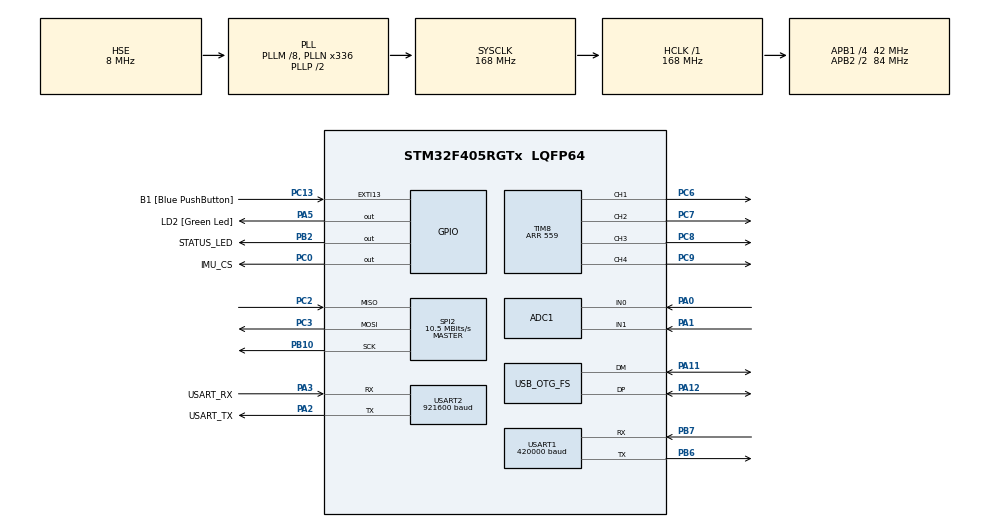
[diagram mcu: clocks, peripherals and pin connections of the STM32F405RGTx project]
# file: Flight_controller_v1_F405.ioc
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ADC1.Channel-10\#ChannelRegularConversion=ADC_CHANNEL_0
ADC1.Channel-12\#ChannelRegularConversion=ADC_CHANNEL_1
ADC1.ContinuousConvMode=ENABLE
ADC1.DMAContinuousRequests=ENABLE
ADC1.NbrOfConversion=2
ADC1.NbrOfConversionFlag=1
ADC1.Rank-10\#ChannelRegularConversion=1
ADC1.Rank-12\#ChannelRegularConversion=2
ADC1.SamplingTime-10\#ChannelRegularConversion=ADC_SAMPLETIME_480CYCLES
ADC1.SamplingTime-12\#ChannelRegularConversion=ADC_SAMPLETIME_480CYCLES
ADC1.master=1
Dma.ADC1.2.Direction=DMA_PERIPH_TO_MEMORY
Dma.ADC1.2.FIFOMode=DMA_FIFOMODE_DISABLE
Dma.ADC1.2.Instance=DMA2_Stream0
Dma.ADC1.2.MemDataAlignment=DMA_MDATAALIGN_HALFWORD
Dma.ADC1.2.MemInc=DMA_MINC_ENABLE
Dma.ADC1.2.Mode=DMA_CIRCULAR
Dma.ADC1.2.PeriphDataAlignment=DMA_PDATAALIGN_HALFWORD
Dma.ADC1.2.PeriphInc=DMA_PINC_DISABLE
Dma.ADC1.2.Priority=DMA_PRIORITY_LOW
Dma.Request0=USART1_RX
Dma.Request1=SPI2_RX
Dma.Request2=ADC1
Dma.Request3=USART2_RX
Dma.Request4=USART1_TX
Dma.Request5=SPI2_TX
Dma.Request6=USART2_TX
Dma.Request7=TIM8_UP
Dma.SPI2_RX.1.Direction=DMA_PERIPH_TO_MEMORY
Dma.SPI2_RX.1.FIFOMode=DMA_FIFOMODE_DISABLE
Dma.SPI2_RX.1.Instance=DMA1_Stream3
Dma.SPI2_RX.1.MemDataAlignment=DMA_MDATAALIGN_BYTE
Dma.SPI2_RX.1.MemInc=DMA_MINC_ENABLE
Dma.SPI2_RX.1.Mode=DMA_NORMAL
Dma.SPI2_RX.1.PeriphDataAlignment=DMA_PDATAALIGN_BYTE
Dma.SPI2_RX.1.PeriphInc=DMA_PINC_DISABLE
Dma.SPI2_RX.1.Priority=DMA_PRIORITY_LOW
Dma.SPI2_TX.5.Direction=DMA_MEMORY_TO_PERIPH
Dma.SPI2_TX.5.FIFOMode=DMA_FIFOMODE_DISABLE
Dma.SPI2_TX.5.Instance=DMA1_Stream4
Dma.SPI2_TX.5.MemDataAlignment=DMA_MDATAALIGN_BYTE
Dma.SPI2_TX.5.MemInc=DMA_MINC_ENABLE
Dma.SPI2_TX.5.Mode=DMA_NORMAL
Dma.SPI2_TX.5.PeriphDataAlignment=DMA_PDATAALIGN_BYTE
Dma.SPI2_TX.5.PeriphInc=DMA_PINC_DISABLE
Dma.SPI2_TX.5.Priority=DMA_PRIORITY_LOW
Dma.TIM8_UP.7.Direction=DMA_MEMORY_TO_PERIPH
Dma.TIM8_UP.7.FIFOMode=DMA_FIFOMODE_DISABLE
Dma.TIM8_UP.7.Instance=DMA2_Stream1
Dma.TIM8_UP.7.MemDataAlignment=DMA_MDATAALIGN_WORD
Dma.TIM8_UP.7.MemInc=DMA_MINC_ENABLE
Dma.TIM8_UP.7.Mode=DMA_NORMAL
Dma.TIM8_UP.7.PeriphDataAlignment=DMA_PDATAALIGN_WORD
Dma.TIM8_UP.7.PeriphInc=DMA_PINC_DISABLE
Dma.TIM8_UP.7.Priority=DMA_PRIORITY_LOW
Dma.USART1_RX.0.Direction=DMA_PERIPH_TO_MEMORY
Dma.USART1_RX.0.FIFOMode=DMA_FIFOMODE_DISABLE
Dma.USART1_RX.0.Instance=DMA2_Stream2
Dma.USART1_RX.0.MemDataAlignment=DMA_MDATAALIGN_BYTE
Dma.USART1_RX.0.MemInc=DMA_MINC_ENABLE
Dma.USART1_RX.0.Mode=DMA_CIRCULAR
Dma.USART1_RX.0.PeriphDataAlignment=DMA_PDATAALIGN_BYTE
Dma.USART1_RX.0.PeriphInc=DMA_PINC_DISABLE
Dma.USART1_RX.0.Priority=DMA_PRIORITY_LOW
Dma.USART1_TX.4.Direction=DMA_MEMORY_TO_PERIPH
Dma.USART1_TX.4.FIFOMode=DMA_FIFOMODE_DISABLE
Dma.USART1_TX.4.Instance=DMA2_Stream7
Dma.USART1_TX.4.MemDataAlignment=DMA_MDATAALIGN_BYTE
Dma.USART1_TX.4.MemInc=DMA_MINC_ENABLE
Dma.USART1_TX.4.Mode=DMA_NORMAL
Dma.USART1_TX.4.PeriphDataAlignment=DMA_PDATAALIGN_BYTE
Dma.USART1_TX.4.PeriphInc=DMA_PINC_DISABLE
Dma.USART1_TX.4.Priority=DMA_PRIORITY_LOW
Dma.USART2_RX.3.Direction=DMA_PERIPH_TO_MEMORY
Dma.USART2_RX.3.FIFOMode=DMA_FIFOMODE_DISABLE
Dma.USART2_RX.3.Instance=DMA1_Stream5
Dma.USART2_RX.3.MemDataAlignment=DMA_MDATAALIGN_BYTE
Dma.USART2_RX.3.MemInc=DMA_MINC_ENABLE
Dma.USART2_RX.3.Mode=DMA_CIRCULAR
Dma.USART2_RX.3.PeriphDataAlignment=DMA_PDATAALIGN_BYTE
Dma.USART2_RX.3.PeriphInc=DMA_PINC_DISABLE
Dma.USART2_RX.3.Priority=DMA_PRIORITY_LOW
Dma.USART2_TX.6.Direction=DMA_MEMORY_TO_PERIPH
Dma.USART2_TX.6.FIFOMode=DMA_FIFOMODE_DISABLE
Dma.USART2_TX.6.Instance=DMA1_Stream6
Dma.USART2_TX.6.MemDataAlignment=DMA_MDATAALIGN_BYTE
Dma.USART2_TX.6.MemInc=DMA_MINC_ENABLE
Dma.USART2_TX.6.Mode=DMA_NORMAL
Dma.USART2_TX.6.PeriphDataAlignment=DMA_PDATAALIGN_BYTE
Dma.USART2_TX.6.PeriphInc=DMA_PINC_DISABLE
Dma.USART2_TX.6.Priority=DMA_PRIORITY_LOW
Mcu.Family=STM32F4
Mcu.Name=STM32F405RGTx
Mcu.Package=LQFP64
NVIC.DMA1_Stream3_IRQn=true\:0\:0\:false\:false\:true\:false\:true\:true
NVIC.DMA1_Stream4_IRQn=true\:0\:0\:false\:false\:true\:false\:true\:true
NVIC.DMA1_Stream5_IRQn=true\:0\:0\:false\:false\:true\:false\:true\:true
NVIC.DMA1_Stream6_IRQn=true\:0\:0\:false\:false\:true\:false\:true\:true
NVIC.DMA2_Stream0_IRQn=true\:0\:0\:false\:false\:true\:false\:true\:true
NVIC.DMA2_Stream1_IRQn=true\:0\:0\:false\:false\:true\:false\:true\:true
NVIC.DMA2_Stream2_IRQn=true\:0\:0\:false\:false\:true\:false\:true\:true
NVIC.DMA2_Stream7_IRQn=true\:0\:0\:false\:false\:true\:false\:true\:true
NVIC.EXTI15_10_IRQn=true\:0\:0\:false\:false\:true\:true\:true\:true
NVIC.OTG_FS_IRQn=true\:0\:0\:false\:false\:true\:false\:true\:true
NVIC.PriorityGroup=NVIC_PRIORITYGROUP_0
NVIC.SPI2_IRQn=true\:0\:0\:false\:false\:true\:true\:true\:true
NVIC.USART1_IRQn=true\:0\:0\:false\:false\:true\:false\:true\:true
NVIC.USART2_IRQn=true\:0\:0\:false\:false\:true\:true\:true\:true
PA0-WKUP.Signal=ADCx_IN0
PA1.Signal=ADCx_IN1
PA11.Mode=Device_Only
PA11.Signal=USB_OTG_FS_DM
PA12.Mode=Device_Only
PA12.Signal=USB_OTG_FS_DP
PA13.GPIO_Label=TMS
PA13.Mode=Serial_Wire
PA13.Signal=SYS_JTMS-SWDIO
PA14.GPIO_Label=TCK
PA14.Mode=Serial_Wire
PA14.Signal=SYS_JTCK-SWCLK
PA2.GPIO_Label=USART_TX
PA2.Mode=Asynchronous
PA2.Signal=USART2_TX
PA3.GPIO_Label=USART_RX
PA3.Mode=Asynchronous
PA3.Signal=USART2_RX
PA5.GPIO_Label=LD2 [Green Led]
PA5.Signal=GPIO_Output
PB10.Mode=Full_Duplex_Master
PB10.Signal=SPI2_SCK
PB2.GPIO_Label=STATUS_LED
PB2.Signal=GPIO_Output
PB3.GPIO_Label=SWO
PB3.Signal=SYS_JTDO-SWO
PB6.Mode=Asynchronous
PB6.Signal=USART1_TX
PB7.Mode=Asynchronous
PB7.Signal=USART1_RX
PC0.GPIO_Label=IMU_CS
PC0.PinState=GPIO_PIN_SET
PC0.Signal=GPIO_Output
PC13-ANTI_TAMP.GPIO_Label=B1 [Blue PushButton]
PC13-ANTI_TAMP.GPIO_ModeDefaultEXTI=GPIO_MODE_IT_FALLING
PC13-ANTI_TAMP.Signal=GPXTI13
PC14-OSC32_IN.Signal=RCC_OSC32_IN
PC15-OSC32_OUT.Signal=RCC_OSC32_OUT
PC2.Mode=Full_Duplex_Master
PC2.Signal=SPI2_MISO
PC3.Mode=Full_Duplex_Master
PC3.Signal=SPI2_MOSI
PC6.Signal=S_TIM8_CH1
PC7.Signal=S_TIM8_CH2
PC8.Signal=S_TIM8_CH3
PC9.Signal=S_TIM8_CH4
PH0-OSC_IN.Mode=HSE-External-Oscillator
PH0-OSC_IN.Signal=RCC_OSC_IN
PH1-OSC_OUT.Mode=HSE-External-Oscillator
PH1-OSC_OUT.Signal=RCC_OSC_OUT
ProjectManager.HeapSize=0x200
ProjectManager.StackSize=0x400
ProjectManager.TargetToolchain=CMake
RCC.48MHZClocksFreq_Value=48000000
RCC.AHBFreq_Value=168000000
RCC.APB1CLKDivider=RCC_HCLK_DIV4
RCC.APB1Freq_Value=42000000
RCC.APB1TimFreq_Value=84000000
RCC.APB2CLKDivider=RCC_HCLK_DIV2
RCC.APB2Freq_Value=84000000
RCC.APB2TimFreq_Value=168000000
RCC.CortexFreq_Value=168000000
RCC.FLatency-AdvancedSettings=FLASH_LATENCY_5
RCC.HCLKFreq_Value=168000000
RCC.HSE_VALUE=8000000
RCC.HSI_VALUE=16000000
RCC.LSE_VALUE=32768
RCC.PLLM=8
RCC.PLLN=336
RCC.PLLQ=7
RCC.SYSCLKFreq_VALUE=168000000
RCC.SYSCLKSource=RCC_SYSCLKSOURCE_PLLCLK
RCC.VCOOutputFreq_Value=336000000
SH.ADCx_IN0.0=ADC1_IN0,IN0
SH.ADCx_IN1.0=ADC1_IN1,IN1
SH.S_TIM8_CH1.0=TIM8_CH1,PWM Generation1 CH1
SH.S_TIM8_CH2.0=TIM8_CH2,PWM Generation2 CH2
SH.S_TIM8_CH3.0=TIM8_CH3,PWM Generation3 CH3
SH.S_TIM8_CH4.0=TIM8_CH4,PWM Generation4 CH4
SPI2.BaudRatePrescaler=SPI_BAUDRATEPRESCALER_4
SPI2.CLKPhase=SPI_PHASE_2EDGE
SPI2.CLKPolarity=SPI_POLARITY_HIGH
SPI2.CalculateBaudRate=10.5 MBits/s
SPI2.Direction=SPI_DIRECTION_2LINES
SPI2.Mode=SPI_MODE_MASTER
SPI2.VirtualType=VM_MASTER
TIM8.Channel-PWM\ Generation1\ CH1=TIM_CHANNEL_1
TIM8.Channel-PWM\ Generation2\ CH2=TIM_CHANNEL_2
TIM8.Channel-PWM\ Generation3\ CH3=TIM_CHANNEL_3
TIM8.Channel-PWM\ Generation4\ CH4=TIM_CHANNEL_4
TIM8.Period=559
USART1.BaudRate=420000
USART1.VirtualMode=VM_ASYNC
USART2.BaudRate=921600
USART2.VirtualMode=VM_ASYNC
USB_DEVICE.CLASS_NAME_FS=CDC
USB_DEVICE.VirtualMode-CDC_FS=Cdc
USB_DEVICE.VirtualModeFS=Cdc_FS
USB_OTG_FS.VirtualMode=Device_Only
VP_TIM8_VS_ClockSourceINT.Mode=Internal
VP_USB_DEVICE_VS_USB_DEVICE_CDC_FS.Mode=CDC_FS
board=custom

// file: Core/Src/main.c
/* USER CODE BEGIN Header */
/**
  ******************************************************************************
  * @file           : main.c
  * @brief          : Main program body
  ******************************************************************************
  * @attention
  *
  * Copyright (c) 2026 STMicroelectronics.
  * All rights reserved.
  *
  * This software is licensed under terms that can be found in the LICENSE file
  * in the root directory of this software component.
  * If no LICENSE file comes with this software, it is provided AS-IS.
  *
  ******************************************************************************
  */
/* USER CODE END Header */
#include "main.h"
#include "usb_device.h"

/* USER CODE BEGIN Includes */
#include <stdio.h>

#include "usbd_cdc_if.h"
#include "FlightController/flightcontroller_entry.h"
/* USER CODE END Includes */

ADC_HandleTypeDef hadc1;
DMA_HandleTypeDef hdma_adc1;

SPI_HandleTypeDef hspi2;
DMA_HandleTypeDef hdma_spi2_rx;
DMA_HandleTypeDef hdma_spi2_tx;

TIM_HandleTypeDef htim8;
DMA_HandleTypeDef hdma_tim8_up;

UART_HandleTypeDef huart1;
UART_HandleTypeDef huart2;
DMA_HandleTypeDef hdma_usart1_rx;
DMA_HandleTypeDef hdma_usart1_tx;
DMA_HandleTypeDef hdma_usart2_rx;
DMA_HandleTypeDef hdma_usart2_tx;

/* USER CODE BEGIN PV */
uint8_t m_uartVirtualRxDmaBuffer[256];
uint16_t m_lastVirtualRxDmaPos = 0;
/* USER CODE END PV */

void SystemClock_Config(void);
static void MX_GPIO_Init(void);
static void MX_DMA_Init(void);
static void MX_ADC1_Init(void);
static void MX_SPI2_Init(void);
static void MX_USART1_UART_Init(void);
static void MX_USART2_UART_Init(void);
static void MX_TIM8_Init(void);
/* USER CODE BEGIN PFP */
void ProcessVirtualUartRxDma(void);
/* USER CODE END PFP */

/* USER CODE BEGIN 0 */
void HAL_UARTEx_RxEventCallback(UART_HandleTypeDef* huart, uint16_t size)
{
    if (huart->Instance == USART1)
    {
        HAL_UARTEx_ReceiveToIdle_DMA(&huart1, m_uartVirtualRxDmaBuffer, sizeof(m_uartVirtualRxDmaBuffer));
    }
}

void HAL_SPI_RxCpltCallback(SPI_HandleTypeDef *hspi)
{
    if (hspi2.Instance == SPI2)
    {

    }
}

void ProcessVirtualUartRxDma()
{
    const uint16_t currentPos =
        sizeof(m_uartVirtualRxDmaBuffer) - __HAL_DMA_GET_COUNTER(huart1.hdmarx);

    if (currentPos == m_lastVirtualRxDmaPos)
    {
        return;
    }

    if (currentPos > m_lastVirtualRxDmaPos)
    {
        for (uint16_t i = m_lastVirtualRxDmaPos; i < currentPos; ++i)
        {
            flight_controller_MavlinkParseByte(m_uartVirtualRxDmaBuffer[i]);
        }
    }
    else
    {
        for (uint16_t i = m_lastVirtualRxDmaPos; i < sizeof(m_uartVirtualRxDmaBuffer); ++i)
        {
            flight_controller_MavlinkParseByte(m_uartVirtualRxDmaBuffer[i]);
        }

        for (uint16_t i = 0; i < currentPos; ++i)
        {
            flight_controller_MavlinkParseByte(m_uartVirtualRxDmaBuffer[i]);
        }
    }

    m_lastVirtualRxDmaPos = currentPos;
}

typedef enum
{
    NOT_ACTIVE = 0,
    READY_TO_START = 1,
    LOW_MOTOR = 2,
    HALF_MOTOR = 3,
    HIGH_MOTOR = 4
} TEST_PWM_SEQUENCE_TEST_STATE;

TEST_PWM_SEQUENCE_TEST_STATE g_currentTestState = NOT_ACTIVE;
uint32_t g_sequenceLastTime = 0;
void ProcessPwmSequence_Test()
{
    switch (g_currentTestState)
    {
        case NOT_ACTIVE:
        {
            HAL_GPIO_WritePin(LD2_GPIO_Port, LD2_Pin, GPIO_PIN_RESET);
            break;
        }

        case READY_TO_START:
        {
            HAL_GPIO_WritePin(LD2_GPIO_Port, LD2_Pin, GPIO_PIN_SET);

            g_sequenceLastTime = HAL_GetTick();
            g_currentTestState = LOW_MOTOR;
            break;
        }

        case LOW_MOTOR:
        {
            __HAL_TIM_SET_COMPARE(&htim8, TIM_CHANNEL_1, 1000);

            const uint32_t currentTick = HAL_GetTick();
            if (currentTick - g_sequenceLastTime >= 1000)
            {
                g_sequenceLastTime = HAL_GetTick();
                g_currentTestState = HALF_MOTOR;
            }
            break;
        }

        case HALF_MOTOR:
        {
            __HAL_TIM_SET_COMPARE(&htim8, TIM_CHANNEL_1, 1500);
            const uint32_t currentTick = HAL_GetTick();
            if (currentTick - g_sequenceLastTime >= 1000)
            {
                g_sequenceLastTime = HAL_GetTick();
                g_currentTestState = HIGH_MOTOR;
            }
            break;
        }

        case HIGH_MOTOR:
        {
            __HAL_TIM_SET_COMPARE(&htim8, TIM_CHANNEL_1, 2000);
            const uint32_t currentTick = HAL_GetTick();
            if (currentTick - g_sequenceLastTime >= 1000)
            {
                g_sequenceLastTime = HAL_GetTick();
                g_currentTestState = NOT_ACTIVE;
            }
            break;
        }

        default:
            break;
    }
}

void HAL_GPIO_EXTI_Callback(uint16_t GPIO_Pin)
{
    if (GPIO_Pin == B1_Pin)
    {
        if (g_currentTestState == NOT_ACTIVE)
        {
            g_currentTestState = READY_TO_START;
        }
    }
}
/* USER CODE END 0 */

int main(void)
{

  /* MCU Configuration--------------------------------------------------------*/

  /* Reset of all peripherals, Initializes the Flash interface and the Systick. */
  HAL_Init();

  /* Configure the system clock */
  SystemClock_Config();

  /* Initialize all configured peripherals */
  MX_GPIO_Init();
  MX_DMA_Init();
  MX_ADC1_Init();
  MX_SPI2_Init();
  MX_USART1_UART_Init();
  MX_USART2_UART_Init();
  MX_USB_DEVICE_Init();
  MX_TIM8_Init();
  /* USER CODE BEGIN 2 */

    // const char msg[] = "hello from f405\r\n";
    //
    // while (1)
    // {
    //     HAL_UART_Transmit(&huart1, (uint8_t*)msg, sizeof(msg) - 1, 100);
    //     HAL_Delay(500);
    // }

  HAL_GPIO_WritePin(STATUS_LED_GPIO_Port, STATUS_LED_Pin, GPIO_PIN_RESET);

  flight_controller_Create(&huart1, &huart2, &hspi2, &htim8, &hadc1);
  flight_controller_Init();

  // HAL_UARTEx_ReceiveToIdle_DMA(&huart1, m_uartRCRxDmaBuffer, sizeof(m_uartRCRxDmaBuffer));
  HAL_UARTEx_ReceiveToIdle_DMA(&huart1, m_uartVirtualRxDmaBuffer, sizeof(m_uartVirtualRxDmaBuffer));

  /* USER CODE END 2 */

  /* Infinite loop */
  /* USER CODE BEGIN WHILE */
  while (1)
  {
      // HAL_GPIO_TogglePin(STATUS_LED_GPIO_Port, STATUS_LED_Pin);
      // HAL_Delay(500);
    // ProcessPwmSequence_Test();

    ProcessVirtualUartRxDma();

    flight_controller_Update();
    /* USER CODE END WHILE */

  }
}

void SystemClock_Config(void)
{
  RCC_OscInitTypeDef RCC_OscInitStruct = {0};
  RCC_ClkInitTypeDef RCC_ClkInitStruct = {0};

  /** Configure the main internal regulator output voltage
  */
  __HAL_RCC_PWR_CLK_ENABLE();
  __HAL_PWR_VOLTAGESCALING_CONFIG(PWR_REGULATOR_VOLTAGE_SCALE1);

  /** Initializes the RCC Oscillators according to the specified parameters
  * in the RCC_OscInitTypeDef structure.
  */
  RCC_OscInitStruct.OscillatorType = RCC_OSCILLATORTYPE_HSE;
  RCC_OscInitStruct.HSEState = RCC_HSE_ON;
  RCC_OscInitStruct.PLL.PLLState = RCC_PLL_ON;
  RCC_OscInitStruct.PLL.PLLSource = RCC_PLLSOURCE_HSE;
  RCC_OscInitStruct.PLL.PLLM = 8;
  RCC_OscInitStruct.PLL.PLLN = 336;
  RCC_OscInitStruct.PLL.PLLP = RCC_PLLP_DIV2;
  RCC_OscInitStruct.PLL.PLLQ = 7;
  if (HAL_RCC_OscConfig(&RCC_OscInitStruct) != HAL_OK)
  {
    Error_Handler();
  }

  /** Initializes the CPU, AHB and APB buses clocks
  */
  RCC_ClkInitStruct.ClockType = RCC_CLOCKTYPE_HCLK|RCC_CLOCKTYPE_SYSCLK
                              |RCC_CLOCKTYPE_PCLK1|RCC_CLOCKTYPE_PCLK2;
  RCC_ClkInitStruct.SYSCLKSource = RCC_SYSCLKSOURCE_PLLCLK;
  RCC_ClkInitStruct.AHBCLKDivider = RCC_SYSCLK_DIV1;
  RCC_ClkInitStruct.APB1CLKDivider = RCC_HCLK_DIV4;
  RCC_ClkInitStruct.APB2CLKDivider = RCC_HCLK_DIV2;

  if (HAL_RCC_ClockConfig(&RCC_ClkInitStruct, FLASH_LATENCY_5) != HAL_OK)
  {
    Error_Handler();
  }
}

static void MX_ADC1_Init(void)
{

  ADC_ChannelConfTypeDef sConfig = {0};

  /** Configure the global features of the ADC (Clock, Resolution, Data Alignment and number of conversion)
  */
  hadc1.Instance = ADC1;
  hadc1.Init.ClockPrescaler = ADC_CLOCK_SYNC_PCLK_DIV4;
  hadc1.Init.Resolution = ADC_RESOLUTION_12B;
  hadc1.Init.ScanConvMode = ENABLE;
  hadc1.Init.ContinuousConvMode = ENABLE;
  hadc1.Init.DiscontinuousConvMode = DISABLE;
  hadc1.Init.ExternalTrigConvEdge = ADC_EXTERNALTRIGCONVEDGE_NONE;
  hadc1.Init.ExternalTrigConv = ADC_SOFTWARE_START;
  hadc1.Init.DataAlign = ADC_DATAALIGN_RIGHT;
  hadc1.Init.NbrOfConversion = 2;
  hadc1.Init.DMAContinuousRequests = ENABLE;
  hadc1.Init.EOCSelection = ADC_EOC_SINGLE_CONV;
  if (HAL_ADC_Init(&hadc1) != HAL_OK)
  {
    Error_Handler();
  }

  /** Configure for the selected ADC regular channel its corresponding rank in the sequencer and its sample time.
  */
  sConfig.Channel = ADC_CHANNEL_0;
  sConfig.Rank = 1;
  sConfig.SamplingTime = ADC_SAMPLETIME_480CYCLES;
  if (HAL_ADC_ConfigChannel(&hadc1, &sConfig) != HAL_OK)
  {
    Error_Handler();
  }

  /** Configure for the selected ADC regular channel its corresponding rank in the sequencer and its sample time.
  */
  sConfig.Channel = ADC_CHANNEL_1;
  sConfig.Rank = 2;
  if (HAL_ADC_ConfigChannel(&hadc1, &sConfig) != HAL_OK)
  {
    Error_Handler();
  }

}

static void MX_SPI2_Init(void)
{

  /* SPI2 parameter configuration*/
  hspi2.Instance = SPI2;
  hspi2.Init.Mode = SPI_MODE_MASTER;
  hspi2.Init.Direction = SPI_DIRECTION_2LINES;
  hspi2.Init.DataSize = SPI_DATASIZE_8BIT;
  hspi2.Init.CLKPolarity = SPI_POLARITY_HIGH;
  hspi2.Init.CLKPhase = SPI_PHASE_2EDGE;
  hspi2.Init.NSS = SPI_NSS_SOFT;
  hspi2.Init.BaudRatePrescaler = SPI_BAUDRATEPRESCALER_4;
  hspi2.Init.FirstBit = SPI_FIRSTBIT_MSB;
  hspi2.Init.TIMode = SPI_TIMODE_DISABLE;
  hspi2.Init.CRCCalculation = SPI_CRCCALCULATION_DISABLE;
  hspi2.Init.CRCPolynomial = 10;
  if (HAL_SPI_Init(&hspi2) != HAL_OK)
  {
    Error_Handler();
  }

}

static void MX_TIM8_Init(void)
{

  TIM_ClockConfigTypeDef sClockSourceConfig = {0};
  TIM_MasterConfigTypeDef sMasterConfig = {0};
  TIM_OC_InitTypeDef sConfigOC = {0};
  TIM_BreakDeadTimeConfigTypeDef sBreakDeadTimeConfig = {0};

  htim8.Instance = TIM8;
  htim8.Init.Prescaler = 0;
  htim8.Init.CounterMode = TIM_COUNTERMODE_UP;
  htim8.Init.Period = 279;
  htim8.Init.ClockDivision = TIM_CLOCKDIVISION_DIV1;
  htim8.Init.RepetitionCounter = 0;
  htim8.Init.AutoReloadPreload = TIM_AUTORELOAD_PRELOAD_DISABLE;
  if (HAL_TIM_Base_Init(&htim8) != HAL_OK)
  {
    Error_Handler();
  }
  sClockSourceConfig.ClockSource = TIM_CLOCKSOURCE_INTERNAL;
  if (HAL_TIM_ConfigClockSource(&htim8, &sClockSourceConfig) != HAL_OK)
  {
    Error_Handler();
  }
  if (HAL_TIM_PWM_Init(&htim8) != HAL_OK)
  {
    Error_Handler();
  }
  sMasterConfig.MasterOutputTrigger = TIM_TRGO_RESET;
  sMasterConfig.MasterSlaveMode = TIM_MASTERSLAVEMODE_DISABLE;
  if (HAL_TIMEx_MasterConfigSynchronization(&htim8, &sMasterConfig) != HAL_OK)
  {
    Error_Handler();
  }
  sConfigOC.OCMode = TIM_OCMODE_PWM1;
  sConfigOC.Pulse = 0;
  sConfigOC.OCPolarity = TIM_OCPOLARITY_HIGH;
  sConfigOC.OCNPolarity = TIM_OCNPOLARITY_HIGH;
  sConfigOC.OCFastMode = TIM_OCFAST_DISABLE;
  sConfigOC.OCIdleState = TIM_OCIDLESTATE_RESET;
  sConfigOC.OCNIdleState = TIM_OCNIDLESTATE_RESET;
  if (HAL_TIM_PWM_ConfigChannel(&htim8, &sConfigOC, TIM_CHANNEL_1) != HAL_OK)
  {
    Error_Handler();
  }
  if (HAL_TIM_PWM_ConfigChannel(&htim8, &sConfigOC, TIM_CHANNEL_2) != HAL_OK)
  {
    Error_Handler();
  }
  if (HAL_TIM_PWM_ConfigChannel(&htim8, &sConfigOC, TIM_CHANNEL_3) != HAL_OK)
  {
    Error_Handler();
  }
  if (HAL_TIM_PWM_ConfigChannel(&htim8, &sConfigOC, TIM_CHANNEL_4) != HAL_OK)
  {
    Error_Handler();
  }
  sBreakDeadTimeConfig.OffStateRunMode = TIM_OSSR_DISABLE;
  sBreakDeadTimeConfig.OffStateIDLEMode = TIM_OSSI_DISABLE;
  sBreakDeadTimeConfig.LockLevel = TIM_LOCKLEVEL_OFF;
  sBreakDeadTimeConfig.DeadTime = 0;
  sBreakDeadTimeConfig.BreakState = TIM_BREAK_DISABLE;
  sBreakDeadTimeConfig.BreakPolarity = TIM_BREAKPOLARITY_HIGH;
  sBreakDeadTimeConfig.AutomaticOutput = TIM_AUTOMATICOUTPUT_DISABLE;
  if (HAL_TIMEx_ConfigBreakDeadTime(&htim8, &sBreakDeadTimeConfig) != HAL_OK)
  {
    Error_Handler();
  }
  HAL_TIM_MspPostInit(&htim8);

}

static void MX_USART1_UART_Init(void)
{

  huart1.Instance = USART1;
  huart1.Init.BaudRate = 420000;
  huart1.Init.WordLength = UART_WORDLENGTH_8B;
  huart1.Init.StopBits = UART_STOPBITS_1;
  huart1.Init.Parity = UART_PARITY_NONE;
  huart1.Init.Mode = UART_MODE_TX_RX;
  huart1.Init.HwFlowCtl = UART_HWCONTROL_NONE;
  huart1.Init.OverSampling = UART_OVERSAMPLING_16;
  if (HAL_UART_Init(&huart1) != HAL_OK)
  {
    Error_Handler();
  }

}

static void MX_USART2_UART_Init(void)
{

  huart2.Instance = USART2;
  huart2.Init.BaudRate = 921600;
  huart2.Init.WordLength = UART_WORDLENGTH_8B;
  huart2.Init.StopBits = UART_STOPBITS_1;
  huart2.Init.Parity = UART_PARITY_NONE;
  huart2.Init.Mode = UART_MODE_TX_RX;
  huart2.Init.HwFlowCtl = UART_HWCONTROL_NONE;
  huart2.Init.OverSampling = UART_OVERSAMPLING_16;
  if (HAL_UART_Init(&huart2) != HAL_OK)
  {
    Error_Handler();
  }

}

static void MX_DMA_Init(void)
{

  /* DMA controller clock enable */
  __HAL_RCC_DMA2_CLK_ENABLE();
  __HAL_RCC_DMA1_CLK_ENABLE();

  /* DMA interrupt init */
  /* DMA1_Stream3_IRQn interrupt configuration */
  HAL_NVIC_SetPriority(DMA1_Stream3_IRQn, 0, 0);
  HAL_NVIC_EnableIRQ(DMA1_Stream3_IRQn);
  /* DMA1_Stream4_IRQn interrupt configuration */
  HAL_NVIC_SetPriority(DMA1_Stream4_IRQn, 0, 0);
  HAL_NVIC_EnableIRQ(DMA1_Stream4_IRQn);
  /* DMA1_Stream5_IRQn interrupt configuration */
  HAL_NVIC_SetPriority(DMA1_Stream5_IRQn, 0, 0);
  HAL_NVIC_EnableIRQ(DMA1_Stream5_IRQn);
  /* DMA1_Stream6_IRQn interrupt configuration */
  HAL_NVIC_SetPriority(DMA1_Stream6_IRQn, 0, 0);
  HAL_NVIC_EnableIRQ(DMA1_Stream6_IRQn);
  /* DMA2_Stream0_IRQn interrupt configuration */
  HAL_NVIC_SetPriority(DMA2_Stream0_IRQn, 0, 0);
  HAL_NVIC_EnableIRQ(DMA2_Stream0_IRQn);
  /* DMA2_Stream1_IRQn interrupt configuration */
  HAL_NVIC_SetPriority(DMA2_Stream1_IRQn, 0, 0);
  HAL_NVIC_EnableIRQ(DMA2_Stream1_IRQn);
  /* DMA2_Stream2_IRQn interrupt configuration */
  HAL_NVIC_SetPriority(DMA2_Stream2_IRQn, 0, 0);
  HAL_NVIC_EnableIRQ(DMA2_Stream2_IRQn);
  /* DMA2_Stream7_IRQn interrupt configuration */
  HAL_NVIC_SetPriority(DMA2_Stream7_IRQn, 0, 0);
  HAL_NVIC_EnableIRQ(DMA2_Stream7_IRQn);

}

static void MX_GPIO_Init(void)
{
  GPIO_InitTypeDef GPIO_InitStruct = {0};

  /* GPIO Ports Clock Enable */
  __HAL_RCC_GPIOC_CLK_ENABLE();
  __HAL_RCC_GPIOH_CLK_ENABLE();
  __HAL_RCC_GPIOA_CLK_ENABLE();
  __HAL_RCC_GPIOB_CLK_ENABLE();

  /*Configure GPIO pin Output Level */
  HAL_GPIO_WritePin(IMU_CS_GPIO_Port, IMU_CS_Pin, GPIO_PIN_SET);

  /*Configure GPIO pin Output Level */
  HAL_GPIO_WritePin(LD2_GPIO_Port, LD2_Pin, GPIO_PIN_RESET);

  /*Configure GPIO pin Output Level */
  HAL_GPIO_WritePin(STATUS_LED_GPIO_Port, STATUS_LED_Pin, GPIO_PIN_RESET);

  /*Configure GPIO pin : B1_Pin */
  GPIO_InitStruct.Pin = B1_Pin;
  GPIO_InitStruct.Mode = GPIO_MODE_IT_FALLING;
  GPIO_InitStruct.Pull = GPIO_NOPULL;
  HAL_GPIO_Init(B1_GPIO_Port, &GPIO_InitStruct);

  /*Configure GPIO pin : IMU_CS_Pin */
  GPIO_InitStruct.Pin = IMU_CS_Pin;
  GPIO_InitStruct.Mode = GPIO_MODE_OUTPUT_PP;
  GPIO_InitStruct.Pull = GPIO_NOPULL;
  GPIO_InitStruct.Speed = GPIO_SPEED_FREQ_LOW;
  HAL_GPIO_Init(IMU_CS_GPIO_Port, &GPIO_InitStruct);

  /*Configure GPIO pin : LD2_Pin */
  GPIO_InitStruct.Pin = LD2_Pin;
  GPIO_InitStruct.Mode = GPIO_MODE_OUTPUT_PP;
  GPIO_InitStruct.Pull = GPIO_NOPULL;
  GPIO_InitStruct.Speed = GPIO_SPEED_FREQ_LOW;
  HAL_GPIO_Init(LD2_GPIO_Port, &GPIO_InitStruct);

  /*Configure GPIO pin : STATUS_LED_Pin */
  GPIO_InitStruct.Pin = STATUS_LED_Pin;
  GPIO_InitStruct.Mode = GPIO_MODE_OUTPUT_PP;
  GPIO_InitStruct.Pull = GPIO_NOPULL;
  GPIO_InitStruct.Speed = GPIO_SPEED_FREQ_LOW;
  HAL_GPIO_Init(STATUS_LED_GPIO_Port, &GPIO_InitStruct);

  /* EXTI interrupt init*/
  HAL_NVIC_SetPriority(EXTI15_10_IRQn, 0, 0);
  HAL_NVIC_EnableIRQ(EXTI15_10_IRQn);

}

void Error_Handler(void)
{
  __disable_irq();
  while (1)
  {
  }
}
